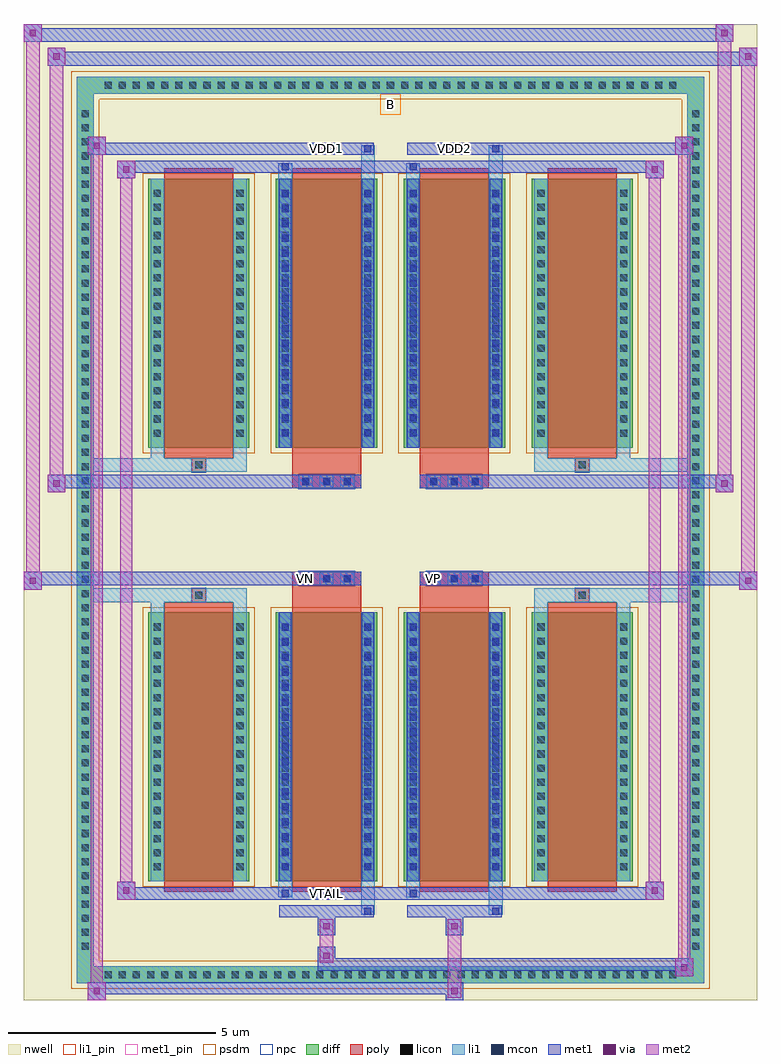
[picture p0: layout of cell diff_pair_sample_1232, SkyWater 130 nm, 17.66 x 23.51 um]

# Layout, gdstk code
import gdstk
lib = gdstk.Library(unit=1e-6, precision=5e-09)
def R(c, l, rs):  # rectangles x0, y0, x1, y1
    for r in rs: c.add(gdstk.rectangle(r[:2], r[2:], *l))
def A(c, l, x, y, w, h, nx, ny, dx, dy):  # array of equal rectangles
    R(c, l, [(x+i*dx, y+j*dy, x+i*dx+w, y+j*dy+h) for i in range(nx) for j in range(ny)])
def P(c, l, *ps):  # polygons
    for p in ps: c.add(gdstk.Polygon(p, *l))
nwell = (64, 20)
diff = (65, 20)
poly = (66, 20)
licon = (66, 44)
li1_pin = (67, 16)
li1 = (67, 20)
mcon = (67, 44)
met1_pin = (68, 16)
met1 = (68, 20)
via = (68, 44)
met2 = (69, 20)
psdm = (94, 20)
npc = (95, 20)

diff_pair_sample_1232 = lib.new_cell('diff_pair_sample_1232')
R(diff_pair_sample_1232, nwell, [(-8.83,-11.32,8.83,12.19), (-6.15,-9.51,-0.01,-0.805), (0.01,-9.51,6.15,-0.805), (-6.15,0.805,-0.01,9.51), (0.01,0.805,6.15,9.51)])
A(diff_pair_sample_1232, diff, -7.005, -10.92, 0.41, 0.41, 41, 2, 0.34, 21.43)
A(diff_pair_sample_1232, diff, -7.56, -10.235, 0.41, 0.41, 1, 60, 0, 0.34)
A(diff_pair_sample_1232, diff, 7.15, -10.235, 0.41, 0.41, 1, 60, 0, 0.34)
A(diff_pair_sample_1232, diff, -5.84, -8.465, 2.44, 6.48, 4, 2, 3.08, 10.45)
R(diff_pair_sample_1232, diff, [(-7.005,-10.92,7.005,-10.51), (-7.56,-10.235,-7.15,10.235), (7.15,-10.235,7.56,10.235), (-7.005,10.51,7.005,10.92)])
P(diff_pair_sample_1232, diff, [(7.56,10.92),(-7.56,10.92),(-7.56,-10.51),(-7.15,-10.51),(-7.15,10.51),(7.15,10.51),(7.15,-10.51),(-7.15,-10.51),(-7.56,-10.51),(-7.56,-10.92),(7.56,-10.92)])
A(diff_pair_sample_1232, poly, -5.45, -8.715, 1.66, 6.98, 4, 2, 3.08, 10.45)
A(diff_pair_sample_1232, poly, -2.205, -1.335, 0.33, 0.33, 3, 2, 0.5, 2.34)
A(diff_pair_sample_1232, poly, 0.875, -1.335, 0.33, 0.33, 3, 2, 0.5, 2.34)
R(diff_pair_sample_1232, poly, [(-4.785,-1.735,-4.455,-1.405), (-4.785,-1.735,-4.455,-1.405), (-2.37,-1.735,-0.71,-1.335), (0.71,-1.735,2.37,-1.335), (4.455,-1.735,4.785,-1.405), (4.455,-1.735,4.785,-1.405), (-2.37,-1.335,-0.71,-1.005), (0.71,-1.335,2.37,-1.005), (-2.37,1.005,-0.71,1.335), (0.71,1.005,2.37,1.335), (-2.37,1.335,-0.71,1.735), (0.71,1.335,2.37,1.735), (-4.785,1.405,-4.455,1.735), (-4.785,1.405,-4.455,1.735), (4.455,1.405,4.785,1.735), (4.455,1.405,4.785,1.735)])
A(diff_pair_sample_1232, licon, -6.885, -10.8, 0.17, 0.17, 41, 2, 0.34, 21.43)
A(diff_pair_sample_1232, licon, -7.44, -10.115, 0.17, 0.17, 1, 60, 0, 0.34)
A(diff_pair_sample_1232, licon, 7.27, -10.115, 0.17, 0.17, 1, 60, 0, 0.34)
A(diff_pair_sample_1232, licon, -5.7, -8.2, 0.17, 0.17, 1, 18, 0, 0.34)
A(diff_pair_sample_1232, licon, -3.71, -8.2, 0.17, 0.17, 1, 18, 0, 0.34)
A(diff_pair_sample_1232, licon, -2.62, -8.2, 0.17, 0.17, 1, 18, 0, 0.34)
A(diff_pair_sample_1232, licon, -0.63, -8.2, 0.17, 0.17, 1, 18, 0, 0.34)
A(diff_pair_sample_1232, licon, 0.46, -8.2, 0.17, 0.17, 1, 18, 0, 0.34)
A(diff_pair_sample_1232, licon, 2.45, -8.2, 0.17, 0.17, 1, 18, 0, 0.34)
A(diff_pair_sample_1232, licon, 3.54, -8.2, 0.17, 0.17, 1, 18, 0, 0.34)
A(diff_pair_sample_1232, licon, 5.53, -8.2, 0.17, 0.17, 1, 18, 0, 0.34)
A(diff_pair_sample_1232, licon, -2.125, -1.255, 0.17, 0.17, 3, 2, 0.5, 2.34)
A(diff_pair_sample_1232, licon, 0.955, -1.255, 0.17, 0.17, 3, 2, 0.5, 2.34)
A(diff_pair_sample_1232, licon, -5.7, 2.25, 0.17, 0.17, 1, 18, 0, 0.34)
A(diff_pair_sample_1232, licon, -3.71, 2.25, 0.17, 0.17, 1, 18, 0, 0.34)
A(diff_pair_sample_1232, licon, -2.62, 2.25, 0.17, 0.17, 1, 18, 0, 0.34)
A(diff_pair_sample_1232, licon, -0.63, 2.25, 0.17, 0.17, 1, 18, 0, 0.34)
A(diff_pair_sample_1232, licon, 0.46, 2.25, 0.17, 0.17, 1, 18, 0, 0.34)
A(diff_pair_sample_1232, licon, 2.45, 2.25, 0.17, 0.17, 1, 18, 0, 0.34)
A(diff_pair_sample_1232, licon, 3.54, 2.25, 0.17, 0.17, 1, 18, 0, 0.34)
A(diff_pair_sample_1232, licon, 5.53, 2.25, 0.17, 0.17, 1, 18, 0, 0.34)
R(diff_pair_sample_1232, licon, [(-4.705,-1.655,-4.535,-1.485), (4.535,-1.655,4.705,-1.485), (-4.705,1.485,-4.535,1.655), (4.535,1.485,4.705,1.655)])
R(diff_pair_sample_1232, li1_pin, [(-0.25,10.01,0.25,10.51)])
A(diff_pair_sample_1232, li1, -6.965, -10.88, 0.33, 0.33, 41, 2, 0.34, 21.43)
A(diff_pair_sample_1232, li1, -7.52, -10.195, 0.33, 0.33, 1, 60, 0, 0.34)
A(diff_pair_sample_1232, li1, 7.19, -10.195, 0.33, 0.33, 1, 60, 0, 0.34)
A(diff_pair_sample_1232, li1, -5.78, -8.28, 0.33, 0.33, 1, 18, 0, 0.34)
A(diff_pair_sample_1232, li1, -3.79, -8.28, 0.33, 0.33, 1, 18, 0, 0.34)
A(diff_pair_sample_1232, li1, -2.7, -8.28, 0.33, 0.33, 1, 18, 0, 0.34)
A(diff_pair_sample_1232, li1, -0.71, -8.28, 0.33, 0.33, 1, 18, 0, 0.34)
A(diff_pair_sample_1232, li1, 0.38, -8.28, 0.33, 0.33, 1, 18, 0, 0.34)
A(diff_pair_sample_1232, li1, 2.37, -8.28, 0.33, 0.33, 1, 18, 0, 0.34)
A(diff_pair_sample_1232, li1, 3.46, -8.28, 0.33, 0.33, 1, 18, 0, 0.34)
A(diff_pair_sample_1232, li1, 5.45, -8.28, 0.33, 0.33, 1, 18, 0, 0.34)
A(diff_pair_sample_1232, li1, -2.62, -8.19, 0.17, 0.17, 1, 17, 0, 0.36)
A(diff_pair_sample_1232, li1, -0.63, -8.19, 0.17, 0.17, 1, 17, 0, 0.36)
A(diff_pair_sample_1232, li1, 0.46, -8.19, 0.17, 0.17, 1, 17, 0, 0.36)
A(diff_pair_sample_1232, li1, 2.45, -8.19, 0.17, 0.17, 1, 17, 0, 0.36)
A(diff_pair_sample_1232, li1, -2.205, -1.335, 0.33, 0.33, 3, 2, 0.5, 2.34)
A(diff_pair_sample_1232, li1, 0.875, -1.335, 0.33, 0.33, 3, 2, 0.5, 2.34)
A(diff_pair_sample_1232, li1, -5.78, 2.17, 0.33, 0.33, 1, 18, 0, 0.34)
A(diff_pair_sample_1232, li1, -3.79, 2.17, 0.33, 0.33, 1, 18, 0, 0.34)
A(diff_pair_sample_1232, li1, -2.7, 2.17, 0.33, 0.33, 1, 18, 0, 0.34)
A(diff_pair_sample_1232, li1, -0.71, 2.17, 0.33, 0.33, 1, 18, 0, 0.34)
A(diff_pair_sample_1232, li1, 0.38, 2.17, 0.33, 0.33, 1, 18, 0, 0.34)
A(diff_pair_sample_1232, li1, 2.37, 2.17, 0.33, 0.33, 1, 18, 0, 0.34)
A(diff_pair_sample_1232, li1, 3.46, 2.17, 0.33, 0.33, 1, 18, 0, 0.34)
A(diff_pair_sample_1232, li1, 5.45, 2.17, 0.33, 0.33, 1, 18, 0, 0.34)
A(diff_pair_sample_1232, li1, -2.62, 2.26, 0.17, 0.17, 1, 17, 0, 0.36)
A(diff_pair_sample_1232, li1, -0.63, 2.26, 0.17, 0.17, 1, 17, 0, 0.36)
A(diff_pair_sample_1232, li1, 0.46, 2.26, 0.17, 0.17, 1, 17, 0, 0.36)
A(diff_pair_sample_1232, li1, 2.45, 2.26, 0.17, 0.17, 1, 17, 0, 0.36)
R(diff_pair_sample_1232, li1, [(-7.56,-10.92,-7.15,-10.51), (-7.56,-10.92,-7.15,-10.51), (-7.15,-10.92,7.15,-10.51), (7.15,-10.92,7.56,-10.51), (7.15,-10.92,7.56,-10.51), (-7.56,-10.51,-7.15,10.51), (7.15,-10.51,7.56,10.51), (-0.71,-9.27,-0.38,-8.465), (-0.63,-9.27,-0.46,-9.1), (2.37,-9.27,2.7,-8.465), (2.45,-9.27,2.62,-9.1), (-2.7,-8.84,-2.37,-8.465), (-2.62,-8.84,-2.45,-8.67), (0.38,-8.84,0.71,-8.465), (0.46,-8.84,0.63,-8.67), (-5.78,-8.465,-5.45,-1.985), (-3.79,-8.465,-3.46,-1.985), (-2.7,-8.465,-2.37,-1.985), (-0.71,-8.465,-0.38,-1.985), (0.38,-8.465,0.71,-1.985), (2.37,-8.465,2.7,-1.985), (3.46,-8.465,3.79,-1.985), (5.45,-8.465,5.78,-1.985), (-2.62,-8.19,-2.45,-2.26), (-0.63,-8.19,-0.46,-2.26), (0.46,-8.19,0.63,-2.26), (2.45,-8.19,2.62,-2.26), (-5.78,-1.985,-5.45,-1.405), (-3.79,-1.985,-3.46,-1.405), (3.46,-1.985,3.79,-1.405), (5.45,-1.985,5.78,-1.405), (-7.56,-1.735,-4.785,-1.405), (-5.78,-1.735,-4.785,-1.405), (-4.785,-1.735,-4.455,-1.405), (-4.455,-1.735,-3.46,-1.405), (3.46,-1.735,4.455,-1.405), (4.455,-1.735,4.785,-1.405), (4.455,-1.735,7.56,-1.405), (4.785,-1.735,5.78,-1.405), (-7.56,1.405,-4.785,1.735), (-5.78,1.405,-4.785,1.735), (-5.78,1.405,-5.45,1.985), (-4.785,1.405,-4.455,1.735), (-4.455,1.405,-3.46,1.735), (-3.79,1.405,-3.46,1.985), (3.46,1.405,4.455,1.735), (3.46,1.405,3.79,1.985), (4.455,1.405,4.785,1.735), (4.455,1.405,7.56,1.735), (4.785,1.405,5.78,1.735), (5.45,1.405,5.78,1.985), (-5.78,1.985,-5.45,8.465), (-3.79,1.985,-3.46,8.465), (-2.7,1.985,-2.37,8.465), (-0.71,1.985,-0.38,8.465), (0.38,1.985,0.71,8.465), (2.37,1.985,2.7,8.465), (3.46,1.985,3.79,8.465), (5.45,1.985,5.78,8.465), (-2.62,2.26,-2.45,8.19), (-0.63,2.26,-0.46,8.19), (0.46,2.26,0.63,8.19), (2.45,2.26,2.62,8.19), (-2.7,8.465,-2.37,8.84), (-0.71,8.465,-0.38,9.27), (0.38,8.465,0.71,8.84), (2.37,8.465,2.7,9.27), (-2.62,8.67,-2.45,8.84), (0.46,8.67,0.63,8.84), (-0.63,9.1,-0.46,9.27), (2.45,9.1,2.62,9.27), (-7.56,10.51,-7.15,10.92), (-7.56,10.51,-7.15,10.92), (-7.15,10.51,7.15,10.92), (7.15,10.51,7.56,10.92), (7.15,10.51,7.56,10.92)])
A(diff_pair_sample_1232, mcon, -2.62, -8.19, 0.17, 0.17, 1, 17, 0, 0.36)
A(diff_pair_sample_1232, mcon, -0.63, -8.19, 0.17, 0.17, 1, 17, 0, 0.36)
A(diff_pair_sample_1232, mcon, 0.46, -8.19, 0.17, 0.17, 1, 17, 0, 0.36)
A(diff_pair_sample_1232, mcon, 2.45, -8.19, 0.17, 0.17, 1, 17, 0, 0.36)
A(diff_pair_sample_1232, mcon, -2.125, -1.255, 0.17, 0.17, 3, 2, 0.5, 2.34)
A(diff_pair_sample_1232, mcon, 0.955, -1.255, 0.17, 0.17, 3, 2, 0.5, 2.34)
A(diff_pair_sample_1232, mcon, -2.62, 2.26, 0.17, 0.17, 1, 17, 0, 0.36)
A(diff_pair_sample_1232, mcon, -0.63, 2.26, 0.17, 0.17, 1, 17, 0, 0.36)
A(diff_pair_sample_1232, mcon, 0.46, 2.26, 0.17, 0.17, 1, 17, 0, 0.36)
A(diff_pair_sample_1232, mcon, 2.45, 2.26, 0.17, 0.17, 1, 17, 0, 0.36)
R(diff_pair_sample_1232, mcon, [(-0.63,-9.27,-0.46,-9.1), (2.45,-9.27,2.62,-9.1), (-2.62,-8.84,-2.45,-8.67), (0.46,-8.84,0.63,-8.67), (-2.62,8.67,-2.45,8.84), (0.46,8.67,0.63,8.84), (-0.63,9.1,-0.46,9.27), (2.45,9.1,2.62,9.27)])
R(diff_pair_sample_1232, met1_pin, [(-1.675,-8.88,-1.405,-8.61), (-2.175,-1.295,-1.905,-1.025), (0.905,-1.295,1.175,-1.025), (-1.675,9.06,-1.405,9.33), (1.405,9.06,1.675,9.33)])
A(diff_pair_sample_1232, met1, -2.68, -8.25, 0.29, 0.29, 1, 17, 0, 0.36)
A(diff_pair_sample_1232, met1, -0.69, -8.25, 0.29, 0.29, 1, 17, 0, 0.36)
A(diff_pair_sample_1232, met1, 0.4, -8.25, 0.29, 0.29, 1, 17, 0, 0.36)
A(diff_pair_sample_1232, met1, 2.39, -8.25, 0.29, 0.29, 1, 17, 0, 0.36)
A(diff_pair_sample_1232, met1, -2.185, -1.315, 0.29, 0.29, 3, 2, 0.5, 2.34)
A(diff_pair_sample_1232, met1, 0.895, -1.315, 0.29, 0.29, 3, 2, 0.5, 2.34)
A(diff_pair_sample_1232, met1, -2.68, 2.2, 0.29, 0.29, 1, 17, 0, 0.36)
A(diff_pair_sample_1232, met1, -0.69, 2.2, 0.29, 0.29, 1, 17, 0, 0.36)
A(diff_pair_sample_1232, met1, 0.4, 2.2, 0.29, 0.29, 1, 17, 0, 0.36)
A(diff_pair_sample_1232, met1, 2.39, 2.2, 0.29, 0.29, 1, 17, 0, 0.36)
R(diff_pair_sample_1232, met1, [(-7.29,-11.32,-6.86,-10.89), (1.325,-11.32,1.755,-10.89), (-7.29,-11.18,1.755,-10.89), (6.86,-10.75,7.29,-10.32), (-1.755,-10.61,7.29,-10.32), (-1.755,-10.47,-1.325,-10.04), (-1.755,-9.76,-1.325,-9.33), (1.325,-9.76,1.755,-9.33), (-2.68,-9.33,-0.4,-9.04), (-0.69,-9.33,-0.4,-9.04), (0.4,-9.33,2.68,-9.04), (2.39,-9.33,2.68,-9.04), (-6.58,-8.9,-6.15,-8.47), (-6.58,-8.9,-2.68,-8.61), (-2.68,-8.9,-2.39,-8.61), (-2.68,-8.9,-0.4,-8.61), (-0.4,-8.9,0.4,-8.61), (0.4,-8.9,0.69,-8.61), (0.4,-8.9,2.68,-8.61), (2.68,-8.9,6.58,-8.61), (6.15,-8.9,6.58,-8.47), (-2.68,-8.465,-2.39,-1.985), (-0.69,-8.465,-0.4,-1.985), (0.4,-8.465,0.69,-1.985), (2.39,-8.465,2.68,-1.985), (-8.83,-1.435,-8.4,-1.005), (8.4,-1.435,8.83,-1.005), (-8.83,-1.335,-0.71,-1.005), (-2.37,-1.335,-0.71,-1.005), (0.71,-1.335,2.37,-1.005), (0.71,-1.335,8.83,-1.005), (-8.26,0.905,-7.83,1.335), (7.83,0.905,8.26,1.335), (-8.26,1.005,-2.37,1.335), (-2.37,1.005,-0.71,1.335), (0.71,1.005,2.37,1.335), (2.37,1.005,8.26,1.335), (-2.68,1.985,-2.39,8.465), (-0.69,1.985,-0.4,8.465), (0.4,1.985,0.69,8.465), (2.39,1.985,2.68,8.465), (-6.58,8.47,-6.15,8.9), (6.15,8.47,6.58,8.9), (-6.58,8.61,-2.68,8.9), (-2.68,8.61,-2.39,8.9), (-2.68,8.61,-0.4,8.9), (-0.4,8.61,0.4,8.9), (0.4,8.61,0.69,8.9), (0.4,8.61,2.68,8.9), (2.68,8.61,6.58,8.9), (-7.29,9.04,-6.86,9.47), (-7.29,9.04,-2.68,9.33), (-2.68,9.04,-0.4,9.33), (-0.69,9.04,-0.4,9.33), (0.4,9.04,2.68,9.33), (2.39,9.04,2.68,9.33), (2.68,9.04,7.29,9.33), (6.86,9.04,7.29,9.47), (-8.26,11.19,-7.83,11.62), (-8.26,11.19,-6.15,11.52), (-6.15,11.19,6.15,11.52), (6.15,11.19,8.83,11.52), (8.4,11.19,8.83,11.62), (-8.83,11.76,-8.4,12.19), (-8.83,11.76,-6.15,12.09), (-6.15,11.76,6.15,12.09), (6.15,11.76,8.26,12.09), (7.83,11.76,8.26,12.19)])
R(diff_pair_sample_1232, via, [(-7.15,-11.18,-7,-11.03), (1.465,-11.18,1.615,-11.03), (7,-10.61,7.15,-10.46), (-1.615,-10.33,-1.465,-10.18), (-1.615,-9.62,-1.465,-9.47), (1.465,-9.62,1.615,-9.47), (-6.44,-8.76,-6.29,-8.61), (6.29,-8.76,6.44,-8.61), (-8.69,-1.295,-8.54,-1.145), (8.54,-1.295,8.69,-1.145), (-8.12,1.045,-7.97,1.195), (7.97,1.045,8.12,1.195), (-6.44,8.61,-6.29,8.76), (6.29,8.61,6.44,8.76), (-7.15,9.18,-7,9.33), (7,9.18,7.15,9.33), (-8.12,11.33,-7.97,11.48), (8.54,11.33,8.69,11.48), (-8.69,11.9,-8.54,12.05), (7.97,11.9,8.12,12.05)])
R(diff_pair_sample_1232, met2, [(-7.29,-11.32,-6.86,-10.89), (-7.22,-11.32,-6.93,9.47), (-6.93,-11.32,-6.86,-10.89), (-7.24,-11.27,-6.91,-10.94), (1.375,-11.27,1.705,-10.94), (1.375,-10.94,1.705,-9.71), (6.86,-10.75,7.29,-10.32), (6.93,-10.75,7.22,9.47), (7.22,-10.75,7.29,-10.32), (6.91,-10.7,7.24,-10.37), (-1.705,-10.42,-1.375,-10.09), (-1.705,-10.09,-1.375,-9.71), (-1.705,-9.71,-1.375,-9.38), (1.375,-9.71,1.705,-9.38), (-6.58,-8.9,-6.15,-8.47), (-6.51,-8.9,-6.22,8.9), (-6.22,-8.9,-6.15,-8.47), (6.15,-8.9,6.58,-8.47), (6.22,-8.9,6.51,8.9), (6.51,-8.9,6.58,-8.47), (-6.53,-8.85,-6.2,-8.52), (6.2,-8.85,6.53,-8.52), (-8.83,-1.435,-8.4,-1.005), (-8.78,-1.435,-8.45,12.19), (-8.45,-1.435,-8.4,-1.005), (8.4,-1.435,8.83,-1.005), (8.45,-1.435,8.78,11.62), (8.78,-1.435,8.83,-1.005), (-8.78,-1.385,-8.45,-1.055), (8.45,-1.385,8.78,-1.055), (-8.26,0.905,-7.83,1.335), (-8.21,0.905,-7.88,11.62), (-7.88,0.905,-7.83,1.335), (7.83,0.905,8.26,1.335), (7.88,0.905,8.21,12.19), (8.21,0.905,8.26,1.335), (-8.21,0.955,-7.88,1.285), (7.88,0.955,8.21,1.285), (-6.58,8.47,-6.15,8.9), (-6.22,8.47,-6.15,8.9), (6.15,8.47,6.58,8.9), (6.51,8.47,6.58,8.9), (-6.53,8.52,-6.2,8.85), (6.2,8.52,6.53,8.85), (-7.29,9.04,-6.86,9.47), (-6.93,9.04,-6.86,9.47), (6.86,9.04,7.29,9.47), (7.22,9.04,7.29,9.47), (-7.24,9.09,-6.91,9.42), (6.91,9.09,7.24,9.42), (-8.26,11.19,-7.83,11.62), (-7.88,11.19,-7.83,11.62), (8.4,11.19,8.83,11.62), (8.78,11.19,8.83,11.62), (-8.21,11.24,-7.88,11.57), (8.45,11.24,8.78,11.57), (-8.83,11.76,-8.4,12.19), (-8.45,11.76,-8.4,12.19), (7.83,11.76,8.26,12.19), (8.21,11.76,8.26,12.19), (-8.78,11.81,-8.45,12.14), (7.88,11.81,8.21,12.14)])
A(diff_pair_sample_1232, psdm, -5.97, -8.595, 2.7, 6.74, 4, 2, 3.08, 10.45)
P(diff_pair_sample_1232, psdm, [(7.69,11.05),(-7.69,11.05),(-7.69,-10.38),(-7.02,-10.38),(-7.02,10.38),(7.02,10.38),(7.02,-10.38),(-7.02,-10.38),(-7.69,-10.38),(-7.69,-11.05),(7.69,-11.05)])
A(diff_pair_sample_1232, npc, -2.225, -1.355, 0.37, 0.37, 3, 2, 0.5, 2.34)
A(diff_pair_sample_1232, npc, 0.855, -1.355, 0.37, 0.37, 3, 2, 0.5, 2.34)
R(diff_pair_sample_1232, npc, [(-4.805,-1.755,-4.435,-1.385), (4.435,-1.755,4.805,-1.385), (-2.225,-1.355,-1.355,-0.985), (-2.225,-1.355,-1.355,-0.985), (-1.725,-1.355,-0.855,-0.985), (-1.725,-1.355,-0.855,-0.985), (0.855,-1.355,1.725,-0.985), (0.855,-1.355,1.725,-0.985), (1.355,-1.355,2.225,-0.985), (1.355,-1.355,2.225,-0.985), (-2.225,0.985,-1.355,1.355), (-2.225,0.985,-1.355,1.355), (-1.725,0.985,-0.855,1.355), (-1.725,0.985,-0.855,1.355), (0.855,0.985,1.725,1.355), (0.855,0.985,1.725,1.355), (1.355,0.985,2.225,1.355), (1.355,0.985,2.225,1.355), (-4.805,1.385,-4.435,1.755), (4.435,1.385,4.805,1.755)])
diff_pair_sample_1232.add(gdstk.Label('VTAIL', (-1.54,-8.745), layer=68, texttype=5))
diff_pair_sample_1232.add(gdstk.Label('VN', (-2.04,-1.16), layer=68, texttype=5))
diff_pair_sample_1232.add(gdstk.Label('VP', (1.04,-1.16), layer=68, texttype=5))
diff_pair_sample_1232.add(gdstk.Label('B', (0,10.26), layer=67, texttype=5))
diff_pair_sample_1232.add(gdstk.Label('VDD2', (1.54,9.195), layer=68, texttype=5))
diff_pair_sample_1232.add(gdstk.Label('VDD1', (-1.54,9.195), layer=68, texttype=5))

lib.write_gds('diff_pair_sample_1232.gds')
